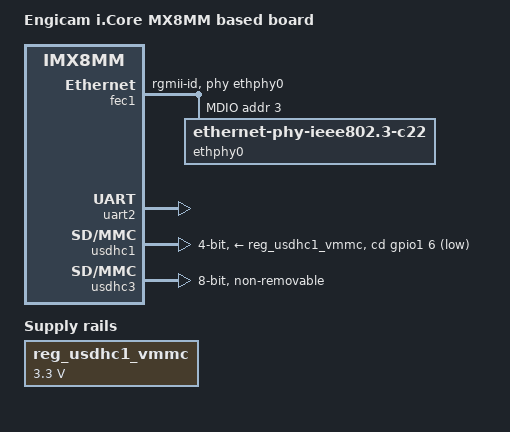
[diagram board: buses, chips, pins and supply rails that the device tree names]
/*
 * Copyright 2018 NXP
 *
 * This program is free software; you can redistribute it and/or
 * modify it under the terms of the GNU General Public License
 * as published by the Free Software Foundation; either version 2
 * of the License, or (at your option) any later version.
 *
 * This program is distributed in the hope that it will be useful,
 * but WITHOUT ANY WARRANTY; without even the implied warranty of
 * MERCHANTABILITY or FITNESS FOR A PARTICULAR PURPOSE.  See the
 * GNU General Public License for more details.
 */

/dts-v1/;

#include <dt-bindings/usb/pd.h>
#include "imx8mm.dtsi"

/ {
	model = "Engicam i.Core MX8MM based board";
	compatible = "fsl,imx8mm-evk", "fsl,imx8mm";

	chosen {
		bootargs = "console=ttymxc1,115200 earlycon=ec_imx6q,0x30890000,115200";
		stdout-patch = &uart2;
	};

	firmware {
		optee {
			compatible = "linaro,optee-tz";
			method = "smc";
		};
	};

	reg_usdhc1_vmmc: regulator-usdhc1 {
		compatible = "regulator-fixed";
		regulator-name = "VSDHC1_3V3";
		regulator-min-microvolt = <3300000>;
		regulator-max-microvolt = <3300000>;
		always-on;
	};

#define TBD_PMIC
#ifdef TBD_PMIC
	buck1_reg: regulator@0 {
//		reg = <0>;
		regulator-compatible = "buck1";
		regulator-min-microvolt = <700000>;
		regulator-max-microvolt = <1300000>;
		regulator-boot-on;
		regulator-always-on;
		regulator-ramp-delay = <1250>;
	};

	buck2_reg: regulator@1 {
//		reg = <1>;
		regulator-compatible = "buck2";
		regulator-min-microvolt = <700000>;
		regulator-max-microvolt = <1300000>;
		regulator-boot-on;
		regulator-always-on;
		regulator-ramp-delay = <1250>;
	};

	buck3_reg: regulator@2 {
//		reg = <2>;
		regulator-compatible = "buck3";
		regulator-min-microvolt = <700000>;
		regulator-max-microvolt = <1300000>;
	};

	buck4_reg: regulator@3 {
//		reg = <3>;
		regulator-compatible = "buck4";
		regulator-min-microvolt = <700000>;
		regulator-max-microvolt = <1300000>;
	};

	buck5_reg: regulator@4 {
//		reg = <4>;
		regulator-compatible = "buck5";
		regulator-min-microvolt = <700000>;
		regulator-max-microvolt = <1350000>;
		regulator-boot-on;
		regulator-always-on;
	};

	buck6_reg: regulator@5 {
//		reg = <5>;
		regulator-compatible = "buck6";
		regulator-min-microvolt = <3000000>;
		regulator-max-microvolt = <3300000>;
		regulator-boot-on;
		regulator-always-on;
	};

	buck7_reg: regulator@6 {
//		reg = <6>;
		regulator-compatible = "buck7";
		regulator-min-microvolt = <1605000>;
		regulator-max-microvolt = <1995000>;
		regulator-boot-on;
		regulator-always-on;
	};

	buck8_reg: regulator@7 {
//		reg = <7>;
		regulator-compatible = "buck8";
		regulator-min-microvolt = <800000>;
		regulator-max-microvolt = <1400000>;
		regulator-boot-on;
		regulator-always-on;
	};

	ldo1_reg: regulator@8 {
//		reg = <8>;
		regulator-compatible = "ldo1";
		regulator-min-microvolt = <3000000>;
		regulator-max-microvolt = <3300000>;
		regulator-boot-on;
		regulator-always-on;
	};

	ldo2_reg: regulator@9 {
//		reg = <9>;
		regulator-compatible = "ldo2";
		regulator-min-microvolt = <900000>;
		regulator-max-microvolt = <900000>;
		regulator-boot-on;
		regulator-always-on;
	};

	ldo3_reg: regulator@10 {
//		reg = <10>;
		regulator-compatible = "ldo3";
		regulator-min-microvolt = <1800000>;
		regulator-max-microvolt = <3300000>;
		regulator-boot-on;
		regulator-always-on;
	};

	ldo4_reg: regulator@11 {
//		reg = <11>;
		regulator-compatible = "ldo4";
		regulator-min-microvolt = <900000>;
		regulator-max-microvolt = <1800000>;
		regulator-boot-on;
		regulator-always-on;
	};

	ldo5_reg: regulator@12 {
//		reg = <12>;
		regulator-compatible = "ldo5";
		regulator-min-microvolt = <1800000>;
		regulator-max-microvolt = <3300000>;
	};

	ldo6_reg: regulator@13 {
//		reg = <13>;
		regulator-compatible = "ldo6";
		regulator-min-microvolt = <900000>;
		regulator-max-microvolt = <1800000>;
		regulator-boot-on;
		regulator-always-on;
	};

	ldo7_reg: regulator@14 {
//		reg = <14>;
		regulator-compatible = "ldo7";
		regulator-min-microvolt = <1800000>;
		regulator-max-microvolt = <3300000>;
	};
#endif
};

&iomuxc {
	pinctrl-names = "default";
	pinctrl-0 = <&pinctrl_hog_1>;

	imx8mm-evk {
		pinctrl_hog_1: hoggrp-1 {
			fsl,pins = <
				MX8MM_IOMUXC_GPIO1_IO08_GPIO1_IO8	0x19
				MX8MM_IOMUXC_GPIO1_IO02_GPIO1_IO2	0x19
			>;
		};

		pinctrl_fec1: fec1grp {
			fsl,pins = <
				MX8MM_IOMUXC_ENET_MDC_ENET1_MDC		0x3
				MX8MM_IOMUXC_ENET_MDIO_ENET1_MDIO	0x3
				MX8MM_IOMUXC_ENET_TD3_ENET1_RGMII_TD3	0x1f
				MX8MM_IOMUXC_ENET_TD2_ENET1_RGMII_TD2	0x1f
				MX8MM_IOMUXC_ENET_TD1_ENET1_RGMII_TD1	0x1f
				MX8MM_IOMUXC_ENET_TD0_ENET1_RGMII_TD0	0x1f
				MX8MM_IOMUXC_ENET_RD3_ENET1_RGMII_RD3	0x91
				MX8MM_IOMUXC_ENET_RD2_ENET1_RGMII_RD2	0x91
				MX8MM_IOMUXC_ENET_RD1_ENET1_RGMII_RD1	0x91
				MX8MM_IOMUXC_ENET_RD0_ENET1_RGMII_RD0	0x91
				MX8MM_IOMUXC_ENET_TXC_ENET1_RGMII_TXC	0x1f
				MX8MM_IOMUXC_ENET_RXC_ENET1_RGMII_RXC	0x91
				MX8MM_IOMUXC_ENET_RX_CTL_ENET1_RGMII_RX_CTL	0x91
				MX8MM_IOMUXC_ENET_TX_CTL_ENET1_RGMII_TX_CTL	0x1f
			>;
		};

		pinctrl_uart2: uart1grp {
			fsl,pins = <
				MX8MM_IOMUXC_UART2_RXD_UART2_DCE_RX	0x49
				MX8MM_IOMUXC_UART2_TXD_UART2_DCE_TX	0x49
			>;
		};

		pinctrl_usdhc1_gpio: usdhc1grpgpio {
			fsl,pins = <
				MX8MM_IOMUXC_GPIO1_IO06_GPIO1_IO6	0x41
			>;
		};

		pinctrl_usdhc1: usdhc1grp {
			fsl,pins = <
				MX8MM_IOMUXC_SD1_CLK_USDHC1_CLK		0x190
				MX8MM_IOMUXC_SD1_CMD_USDHC1_CMD		0x1d0
				MX8MM_IOMUXC_SD1_DATA0_USDHC1_DATA0	0x1d0
				MX8MM_IOMUXC_SD1_DATA1_USDHC1_DATA1	0x1d0
				MX8MM_IOMUXC_SD1_DATA2_USDHC1_DATA2	0x1d0
				MX8MM_IOMUXC_SD1_DATA3_USDHC1_DATA3	0x1d0
			>;
		};

		pinctrl_usdhc1_100mhz: usdhc1grp100mhz {
			fsl,pins = <
				MX8MM_IOMUXC_SD1_CLK_USDHC1_CLK		0x194
				MX8MM_IOMUXC_SD1_CMD_USDHC1_CMD		0x1d4
				MX8MM_IOMUXC_SD1_DATA0_USDHC1_DATA0	0x1d4
				MX8MM_IOMUXC_SD1_DATA1_USDHC1_DATA1	0x1d4
				MX8MM_IOMUXC_SD1_DATA2_USDHC1_DATA2	0x1d4
				MX8MM_IOMUXC_SD1_DATA3_USDHC1_DATA3	0x1d4
			>;
		};

		pinctrl_usdhc1_200mhz: usdhc1grp200mhz {
			fsl,pins = <
				MX8MM_IOMUXC_SD1_CLK_USDHC1_CLK		0x196
				MX8MM_IOMUXC_SD1_CMD_USDHC1_CMD		0x1d6
				MX8MM_IOMUXC_SD1_DATA0_USDHC1_DATA0	0x1d6
				MX8MM_IOMUXC_SD1_DATA1_USDHC1_DATA1	0x1d6
				MX8MM_IOMUXC_SD1_DATA2_USDHC1_DATA2	0x1d6
				MX8MM_IOMUXC_SD1_DATA3_USDHC1_DATA3	0x1d6
			>;
		};

		pinctrl_usdhc3: usdhc3grp {
			fsl,pins = <
				MX8MM_IOMUXC_NAND_WE_B_USDHC3_CLK		0x40000190
				MX8MM_IOMUXC_NAND_WP_B_USDHC3_CMD		0x1d0
				MX8MM_IOMUXC_NAND_DATA04_USDHC3_DATA0		0x1d0
				MX8MM_IOMUXC_NAND_DATA05_USDHC3_DATA1		0x1d0
				MX8MM_IOMUXC_NAND_DATA06_USDHC3_DATA2		0x1d0
				MX8MM_IOMUXC_NAND_DATA07_USDHC3_DATA3		0x1d0
				MX8MM_IOMUXC_NAND_RE_B_USDHC3_DATA4		0x1d0
				MX8MM_IOMUXC_NAND_CE2_B_USDHC3_DATA5		0x1d0
				MX8MM_IOMUXC_NAND_CE3_B_USDHC3_DATA6		0x1d0
				MX8MM_IOMUXC_NAND_CLE_USDHC3_DATA7		0x1d0
				MX8MM_IOMUXC_NAND_CE1_B_USDHC3_STROBE 		0x190
			>;
		};

		pinctrl_usdhc3_100mhz: usdhc3grp100mhz {
			fsl,pins = <
				MX8MM_IOMUXC_NAND_WE_B_USDHC3_CLK		0x40000194
				MX8MM_IOMUXC_NAND_WP_B_USDHC3_CMD		0x1d4
				MX8MM_IOMUXC_NAND_DATA04_USDHC3_DATA0		0x1d4
				MX8MM_IOMUXC_NAND_DATA05_USDHC3_DATA1		0x1d4
				MX8MM_IOMUXC_NAND_DATA06_USDHC3_DATA2		0x1d4
				MX8MM_IOMUXC_NAND_DATA07_USDHC3_DATA3		0x1d4
				MX8MM_IOMUXC_NAND_RE_B_USDHC3_DATA4		0x1d4
				MX8MM_IOMUXC_NAND_CE2_B_USDHC3_DATA5		0x1d4
				MX8MM_IOMUXC_NAND_CE3_B_USDHC3_DATA6		0x1d4
				MX8MM_IOMUXC_NAND_CLE_USDHC3_DATA7		0x1d4
				MX8MM_IOMUXC_NAND_CE1_B_USDHC3_STROBE 		0x194
			>;
		};

		pinctrl_usdhc3_200mhz: usdhc3grp200mhz {
			fsl,pins = <
				MX8MM_IOMUXC_NAND_WE_B_USDHC3_CLK		0x40000196
				MX8MM_IOMUXC_NAND_WP_B_USDHC3_CMD		0x1d6
				MX8MM_IOMUXC_NAND_DATA04_USDHC3_DATA0		0x1d6
				MX8MM_IOMUXC_NAND_DATA05_USDHC3_DATA1		0x1d6
				MX8MM_IOMUXC_NAND_DATA06_USDHC3_DATA2		0x1d6
				MX8MM_IOMUXC_NAND_DATA07_USDHC3_DATA3		0x1d6
				MX8MM_IOMUXC_NAND_RE_B_USDHC3_DATA4		0x1d6
				MX8MM_IOMUXC_NAND_CE2_B_USDHC3_DATA5		0x1d6
				MX8MM_IOMUXC_NAND_CE3_B_USDHC3_DATA6		0x1d6
				MX8MM_IOMUXC_NAND_CLE_USDHC3_DATA7		0x1d6
				MX8MM_IOMUXC_NAND_CE1_B_USDHC3_STROBE 		0x196
			>;
		};
	};
};

&i2c1 {
	status = "disabled";
};

&i2c2 {
	status = "disabled";
};

&i2c3 {
	status = "disabled";
};

&flexspi {
	status = "disabled";
};

&fec1 {
	pinctrl-names = "default";
	pinctrl-0 = <&pinctrl_fec1>;
	phy-mode = "rgmii-id";
	phy-handle = <&ethphy0>;
	fsl,magic-packet;
	status = "okay";
  	//phy-reset-gpios = <&gpio3 7 GPIO_ACTIVE_LOW>;

	mdio {
		#address-cells = <1>;
		#size-cells = <0>;

		ethphy0: ethernet-phy@3 {
			compatible = "ethernet-phy-ieee802.3-c22";
			reg = <3>;
			at803x,led-act-blind-workaround;
			at803x,eee-okay;
			at803x,vddio-1p8v;
		};
	};
};

&uart2 { /* console */
	pinctrl-names = "default";
	pinctrl-0 = <&pinctrl_uart2>;
	status = "okay";
};

&usdhc1 {
	pinctrl-names = "default", "state_100mhz", "state_200mhz";
	pinctrl-0 = <&pinctrl_usdhc1>, <&pinctrl_usdhc1_gpio>;
	pinctrl-1 = <&pinctrl_usdhc1_100mhz>, <&pinctrl_usdhc1_gpio>;
	pinctrl-2 = <&pinctrl_usdhc1_200mhz>, <&pinctrl_usdhc1_gpio>;
	cd-gpios = <&gpio1 6 GPIO_ACTIVE_LOW>;
	bus-width = <4>;
	vmmc-supply = <&reg_usdhc1_vmmc>;
	status = "okay";
};

&usdhc3 {
	pinctrl-names = "default", "state_100mhz", "state_200mhz";
	pinctrl-0 = <&pinctrl_usdhc3>;
	pinctrl-1 = <&pinctrl_usdhc3_100mhz>;
	pinctrl-2 = <&pinctrl_usdhc3_200mhz>;
	bus-width = <8>;
	non-removable;
	status = "okay";
};

&wdog1 {
	status = "disabled";
};

&A53_0 {
	arm-supply = <&buck2_reg>;
};

&usbotg1 {
	status = "disabled";
};

&usbotg2 {
	status = "disabled";
};
